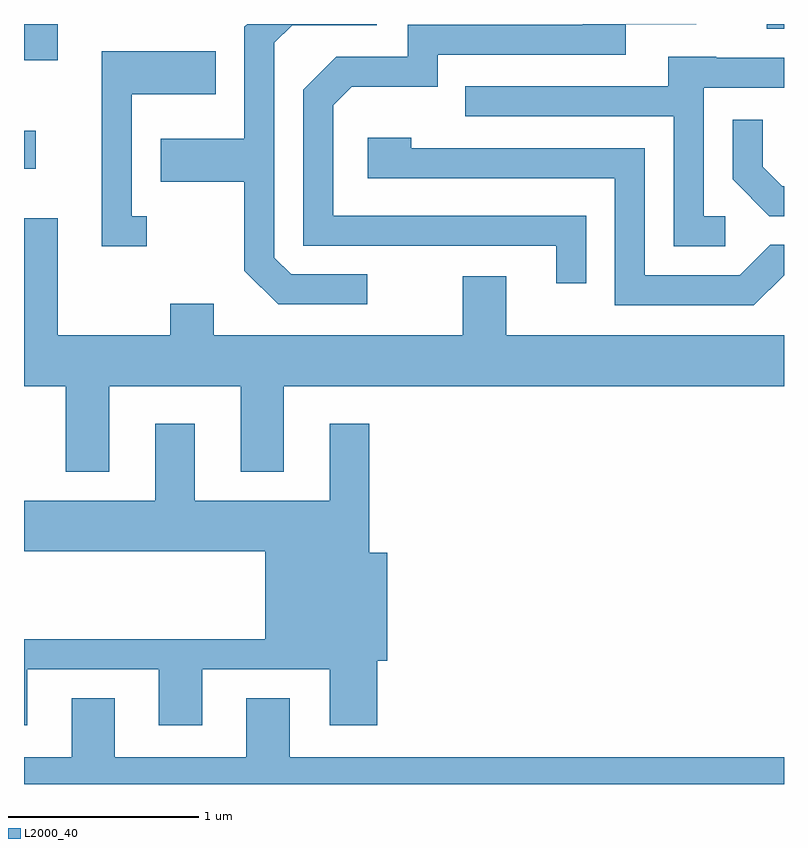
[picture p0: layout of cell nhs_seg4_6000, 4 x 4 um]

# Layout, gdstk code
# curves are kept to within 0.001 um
import gdstk
lib = gdstk.Library(unit=1e-6, precision=1e-09)
def R(c, l, rs):  # rectangles x0, y0, x1, y1
    for r in rs: c.add(gdstk.rectangle(r[:2], r[2:], *l))
def P(c, l, *ps):  # polygons
    for p in ps: c.add(gdstk.Polygon(p, *l))
L2000_40 = (2000, 40)

nhs_seg4_6000 = lib.new_cell('nhs_seg4_6000')
R(nhs_seg4_6000, L2000_40, [(361.611,1289.221,361.674,1289.419), (361.611,1289.791,361.789,1289.982), (365.521,1289.956,365.611,1289.982)])
P(nhs_seg4_6000, L2000_40, [(364.569,1288.974),(363.239,1288.974),(363.239,1289.554),(363.337,1289.651),(363.789,1289.651),(363.789,1289.821),(364.779,1289.821),(364.779,1289.981),(365.148,1289.982),(364.551,1289.982),(364.551,1289.979),(363.631,1289.979),(363.631,1289.809),(363.254,1289.809),(363.081,1289.637),(363.081,1288.816),(364.411,1288.816),(364.411,1288.618),(364.569,1288.618)],
  [(363.418,1288.664),(363.017,1288.664),(362.929,1288.752),(362.929,1289.884),(363.022,1289.976),(363.468,1289.976),(363.468,1289.982),(362.786,1289.982),(362.771,1289.967),(362.771,1289.379),(362.331,1289.379),(362.331,1289.151),(362.771,1289.151),(362.771,1288.684),(362.949,1288.506),(363.418,1288.506)],
  [(362.258,1288.969),(362.179,1288.969),(362.179,1289.611),(362.619,1289.611),(362.619,1289.839),(362.021,1289.839),(362.021,1288.811),(362.258,1288.811)],
  [(365.303,1288.969),(365.189,1288.969),(365.189,1289.646),(365.611,1289.646),(365.611,1289.804),(365.255,1289.804),(365.255,1289.809),(365.001,1289.809),(365.001,1289.654),(363.933,1289.654),(363.933,1289.496),(365.031,1289.496),(365.031,1288.811),(365.303,1288.811)],
  [(365.611,1289.129),(365.602,1289.129),(365.499,1289.232),(365.499,1289.478),(365.341,1289.478),(365.341,1289.164),(365.534,1288.971),(365.611,1288.971)],
  [(365.611,1288.66),(365.611,1288.819),(365.539,1288.819),(365.379,1288.659),(364.879,1288.659),(364.879,1289.329),(363.649,1289.329),(363.649,1289.384),(363.421,1289.384),(363.421,1289.171),(364.721,1289.171),(364.721,1288.501),(365.452,1288.501)],
  [(362.059,1288.076),(362.751,1288.076),(362.751,1287.626),(362.979,1287.626),(362.979,1288.076),(365.611,1288.076),(365.611,1288.344),(364.149,1288.344),(364.149,1288.654),(363.921,1288.654),(363.921,1288.344),(362.609,1288.344),(362.609,1288.509),(362.381,1288.509),(362.381,1288.344),(361.789,1288.344),(361.789,1288.959),(361.611,1288.959),(361.611,1288.076),(361.831,1288.076),(361.831,1287.626),(362.059,1287.626)],
  [(361.629,1286.586),(362.321,1286.586),(362.321,1286.291),(362.549,1286.291),(362.549,1286.586),(363.221,1286.586),(363.221,1286.291),(363.469,1286.291),(363.469,1286.631),(363.524,1286.631),(363.524,1287.199),(363.429,1287.199),(363.429,1287.879),(363.221,1287.879),(363.221,1287.474),(362.509,1287.474),(362.509,1287.879),(362.301,1287.879),(362.301,1287.474),(361.611,1287.474),(361.611,1287.206),(362.881,1287.206),(362.881,1286.744),(361.611,1286.744),(361.611,1286.291),(361.629,1286.291)],
  [(365.611,1286.124),(363.009,1286.124),(363.009,1286.434),(362.781,1286.434),(362.781,1286.124),(362.089,1286.124),(362.089,1286.434),(361.861,1286.434),(361.861,1286.124),(361.611,1286.124),(361.611,1285.982),(365.611,1285.982)])

lib.write_gds('nhs_seg4_6000.gds')
